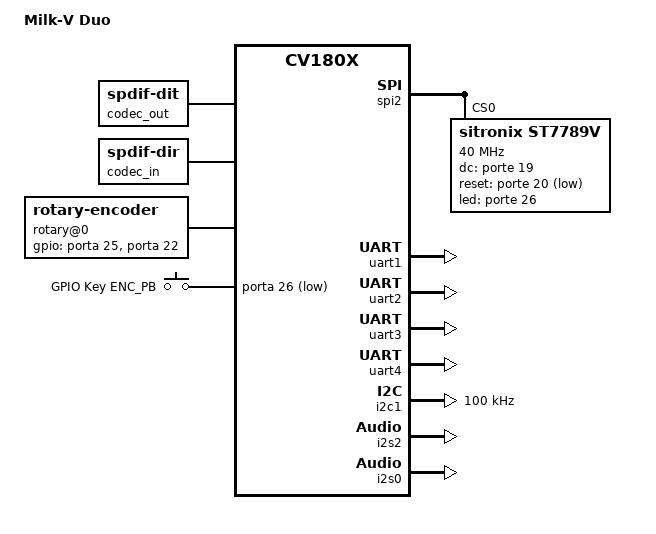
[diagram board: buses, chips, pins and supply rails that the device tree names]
/dts-v1/;
#include "cv180x_base_riscv.dtsi"
#include "cv180x_asic_qfn.dtsi"
#include "cv180x_asic_sd.dtsi"
#include "cv180x_default_memmap.dtsi"

/ {
	model = "Milk-V Duo";
};

&mipi_rx{
	snsr-reset = <&portc 8 GPIO_ACTIVE_LOW>, <&portc 8 GPIO_ACTIVE_LOW>, <&portc 8 GPIO_ACTIVE_LOW>;
};

&spi2 {
	status = "okay";

	/////////////////////////////////////////////////////
	// remove spidev and hook to ST7789 driver for FB use
	/////////////////////////////////////////////////////
    /delete-node/ spidev@0;

	st7789v: st7789v@0{
		compatible = "sitronix,st7789v";
		reg = <0>;
		status = "okay";
		spi-max-frequency = <40000000>;
		spi-cpol;
		spi-cpha;
		rotate = <90>;
		fps = <30>;
		rgb;
		buswidth = <8>;

		dc-gpios = <&porte 19 GPIO_ACTIVE_HIGH>;	//DC
		reset-gpios = <&porte 20 GPIO_ACTIVE_LOW>; //RES
		led-gpios = <&porte 26 GPIO_ACTIVE_HIGH>; //BL

		debug = <0x0>;
	};
};

&uart1 {
	status = "okay";
};

&uart2 {
	status = "okay";
};

&uart3 {
	status = "okay";
};

&uart4 {
	status = "okay";
};

&i2c1 {
       status = "okay";
       clock-frequency = <100000>;
};

&i2s2 {
	status = "okay";
	#sound-dai-cells = <0>;
};

&i2s0 {
	status = "okay";
	#sound-dai-cells = <0>;
};


/ {
	///////////////////////////////////////////////////////////////////////////
	// Use spdif as generic I2S and I2S2 & I2S1 in master TX/slave RX setup
	// for concurrent operation. Note that RX-only will not work.
	///////////////////////////////////////////////////////////////////////////
	codec_out: spdif-transmitter {
		#address-cells = <0>;
		#size-cells = <0>;
		#sound-dai-cells = <0>;
		compatible = "linux,spdif-dit";
		status = "okay";
	};
	
	codec_in: spdif-receiver {
		#address-cells = <0>;
		#size-cells = <0>;
		#sound-dai-cells = <0>;
		compatible = "linux,spdif-dir";
		status = "okay";
	};

	sound_spdif {
		compatible = "simple-audio-card";
		simple-audio-card,name = "i2sAudio";
		// i2s-controller = <&i2s_clk_consumer>;
		status="okay";

		capture_link: simple-audio-card,dai-link@0 {
			format = "i2s";

			// Set I2S1 as slave to I2S2
			bitclock-master = <&r_codec_dai>;
			frame-master = <&r_codec_dai>;

			r_cpu_dai: cpu {
				sound-dai = <&i2s1>;
			};

			r_codec_dai: codec {
				sound-dai = <&codec_in>;
			};
		};

		playback_link: simple-audio-card,dai-link@1 {
			format = "i2s";

			// Set I2S2 as master
			bitclock-master = <&p_cpu_dai>;
			frame-master = <&p_cpu_dai>;

			p_cpu_dai: cpu {
				sound-dai = <&i2s2>;
			};

			p_codec_dai: codec {
				sound-dai = <&codec_out>;
			};
		};
	};
	
	///////////////////////////////
	// rotary encoder with button
	///////////////////////////////
    rotary@0 {
        compatible = "rotary-encoder";
        status = "okay";
        gpios = <&porta 25 GPIO_ACTIVE_HIGH>, <&porta 22 GPIO_ACTIVE_HIGH>;
        linux,axis = <0>; /* REL_X */
        rotary-encoder,encoding = "gray";
        rotary-encoder,relative-axis;
    };
	
	gpio-keys {
		compatible = "gpio-keys";
		autorepeat;

		up {
			label = "GPIO Key ENC_PB";
			linux,code = <103>;
			gpios = <&porta 26 GPIO_ACTIVE_LOW>;
		};
	};
};
